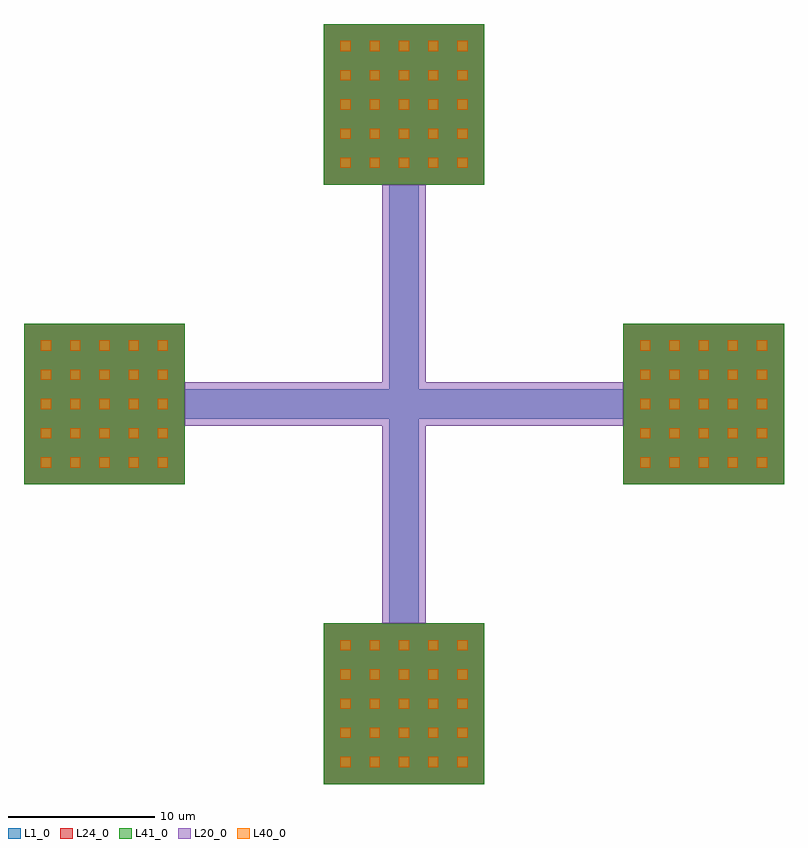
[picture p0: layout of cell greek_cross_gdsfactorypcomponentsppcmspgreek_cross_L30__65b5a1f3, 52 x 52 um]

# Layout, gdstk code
import gdstk
lib = gdstk.Library(unit=1e-6, precision=1e-09)
def R(c, l, rs):  # rectangles x0, y0, x1, y1
    for r in rs: c.add(gdstk.rectangle(r[:2], r[2:], *l))
def A(c, l, x, y, w, h, nx, ny, dx, dy):  # array of equal rectangles
    R(c, l, [(x+i*dx, y+j*dy, x+i*dx+w, y+j*dy+h) for i in range(nx) for j in range(ny)])
def P(c, l, *ps):  # polygons
    for p in ps: c.add(gdstk.Polygon(p, *l))
L1_0 = (1, 0)
L20_0 = (20, 0)
L24_0 = (24, 0)
L40_0 = (40, 0)
L41_0 = (41, 0)

greek_cross_gdsfactorypc = lib.new_cell('greek_cross_gdsfactorypcomponentsppcmspgreek_cross_L30__65b5a1f3')
P(greek_cross_gdsfactorypc, L1_0, [(-5.5,-26),(-5.5,-15),(-1,-15),(-1,-1),(-15,-1),(-15,-5.5),(-26,-5.5),(-26,5.5),(-15,5.5),(-15,1),(-1,1),(-1,15),(-5.5,15),(-5.5,26),(5.5,26),(5.5,15),(1,15),(1,1),(15,1),(15,5.5),(26,5.5),(26,-5.5),(15,-5.5),(15,-1),(1,-1),(1,-15),(5.5,-15),(5.5,-26)])
P(greek_cross_gdsfactorypc, L20_0, [(-1.5,-15),(-1.5,-1.5),(-15,-1.5),(-15,1.5),(-1.5,1.5),(-1.5,15),(1.5,15),(1.5,1.5),(15,1.5),(15,-1.5),(1.5,-1.5),(1.5,-15)])
R(greek_cross_gdsfactorypc, L24_0, [(-5.5,-26,5.5,-15), (-26,-5.5,-15,5.5), (15,-5.5,26,5.5), (-5.5,15,5.5,26)])
A(greek_cross_gdsfactorypc, L40_0, -4.35, -24.85, 0.7, 0.7, 5, 5, 2, 2)
A(greek_cross_gdsfactorypc, L40_0, -24.85, -4.35, 0.7, 0.7, 5, 5, 2, 2)
A(greek_cross_gdsfactorypc, L40_0, 16.15, -4.35, 0.7, 0.7, 5, 5, 2, 2)
A(greek_cross_gdsfactorypc, L40_0, -4.35, 16.15, 0.7, 0.7, 5, 5, 2, 2)
R(greek_cross_gdsfactorypc, L41_0, [(-5.5,-26,5.5,-15), (-26,-5.5,-15,5.5), (15,-5.5,26,5.5), (-5.5,15,5.5,26)])

lib.write_gds('greek_cross_gdsfactorypcomponentsppcmspgreek_cross_L30__65b5a1f3.gds')
